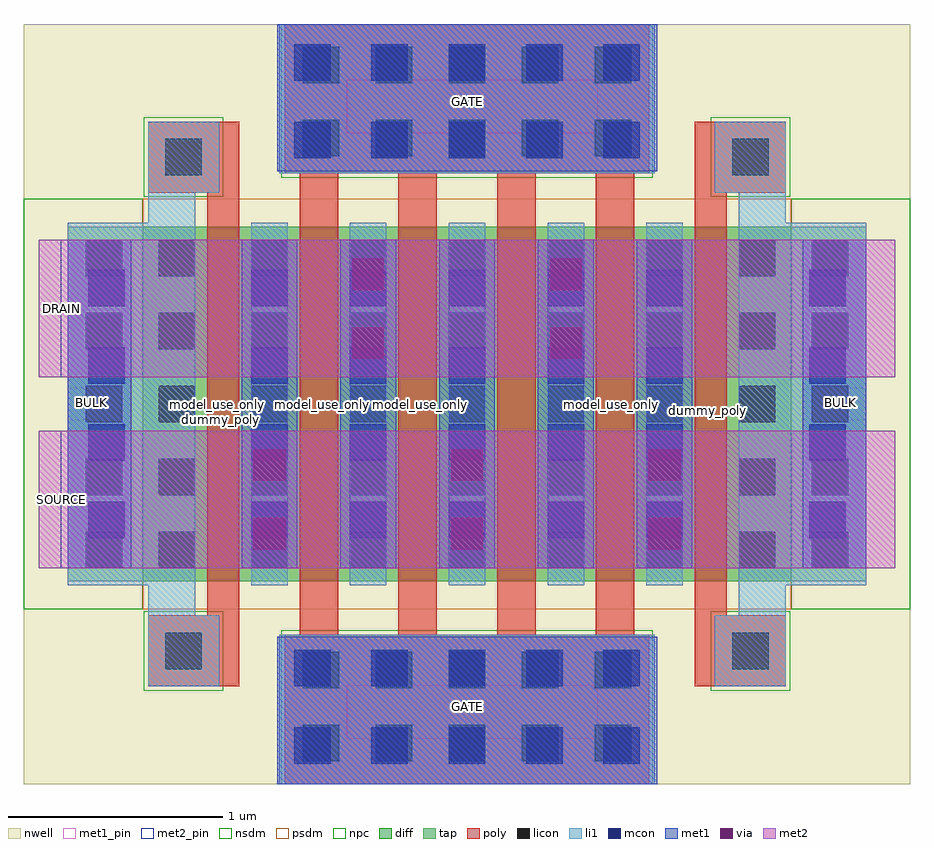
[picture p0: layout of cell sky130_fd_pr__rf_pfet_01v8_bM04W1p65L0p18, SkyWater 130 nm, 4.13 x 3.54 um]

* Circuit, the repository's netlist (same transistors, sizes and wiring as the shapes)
* Copyright 2020 The SkyWater PDK Authors
*
* Licensed under the Apache License, Version 2.0 (the "License");
* you may not use this file except in compliance with the License.
* You may obtain a copy of the License at
*
*     https://www.apache.org/licenses/LICENSE-2.0
*
* Unless required by applicable law or agreed to in writing, software
* distributed under the License is distributed on an "AS IS" BASIS,
* WITHOUT WARRANTIES OR CONDITIONS OF ANY KIND, either express or implied.
* See the License for the specific language governing permissions and
* limitations under the License.
*
* SPDX-License-Identifier: Apache-2.0


.subckt sky130_fd_pr__rf_pfet_01v8_bM04W1p65L0p18 BULK DRAIN GATE SOURCE
X0 SOURCE GATE DRAIN BULK sky130_fd_pr__pfet_01v8 w=1.65e+06u l=180000u
X1 BULK BULK SOURCE BULK sky130_fd_pr__pfet_01v8 w=1.65e+06u l=150000u
X2 SOURCE BULK BULK BULK sky130_fd_pr__pfet_01v8 w=1.65e+06u l=150000u
X3 DRAIN GATE SOURCE BULK sky130_fd_pr__pfet_01v8 w=1.65e+06u l=180000u
X4 DRAIN GATE SOURCE BULK sky130_fd_pr__pfet_01v8 w=1.65e+06u l=180000u
X5 SOURCE GATE DRAIN BULK sky130_fd_pr__pfet_01v8 w=1.65e+06u l=180000u
.ends

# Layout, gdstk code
import gdstk
lib = gdstk.Library(unit=1e-6, precision=1e-09)
def R(c, l, rs):  # rectangles x0, y0, x1, y1
    for r in rs: c.add(gdstk.rectangle(r[:2], r[2:], *l))
def A(c, l, x, y, w, h, nx, ny, dx, dy):  # array of equal rectangles
    R(c, l, [(x+i*dx, y+j*dy, x+i*dx+w, y+j*dy+h) for i in range(nx) for j in range(ny)])
nwell = (64, 20)
diff = (65, 20)
tap = (65, 44)
poly = (66, 20)
licon = (66, 44)
li1 = (67, 20)
mcon = (67, 44)
met1_pin = (68, 16)
met1 = (68, 20)
via = (68, 44)
met2_pin = (69, 16)
met2 = (69, 20)
nsdm = (93, 44)
psdm = (94, 20)
npc = (95, 20)

sky130_fd_pr__rf_pfet_01 = lib.new_cell('sky130_fd_pr__rf_pfet_01v8_bM04W1p65L0p18')
R(sky130_fd_pr__rf_pfet_01, nwell, [(0,0,4.13,3.54)])
R(sky130_fd_pr__rf_pfet_01, diff, [(0.555,0.945,3.575,2.595)])
R(sky130_fd_pr__rf_pfet_01, tap, [(0.205,0.945,0.555,2.595), (3.575,0.945,3.925,2.595)])
A(sky130_fd_pr__rf_pfet_01, poly, 1.285, 0.695, 0.18, 2.15, 4, 1, 0.46, 0)
R(sky130_fd_pr__rf_pfet_01, poly, [(1.215,0,2.915,0.695), (0.58,0.455,0.91,0.785), (0.855,0.455,1.005,3.085), (3.125,0.455,3.275,3.085), (3.22,0.455,3.55,0.785), (0.58,2.755,0.91,3.085), (3.22,2.755,3.55,3.085), (1.215,2.845,2.915,3.54)])
A(sky130_fd_pr__rf_pfet_01, licon, 1.3, 0.105, 0.17, 0.17, 5, 2, 0.34, 0.34)
A(sky130_fd_pr__rf_pfet_01, licon, 0.29, 1.005, 0.17, 0.17, 1, 5, 0, 0.34)
A(sky130_fd_pr__rf_pfet_01, licon, 0.63, 1.005, 0.17, 0.17, 1, 5, 0, 0.34)
A(sky130_fd_pr__rf_pfet_01, licon, 1.06, 1.005, 0.17, 0.17, 3, 1, 0.46, 0)
A(sky130_fd_pr__rf_pfet_01, licon, 1.98, 1.005, 0.17, 0.17, 3, 1, 0.46, 0)
A(sky130_fd_pr__rf_pfet_01, licon, 3.33, 1.005, 0.17, 0.17, 1, 5, 0, 0.34)
A(sky130_fd_pr__rf_pfet_01, licon, 3.67, 1.005, 0.17, 0.17, 1, 5, 0, 0.34)
A(sky130_fd_pr__rf_pfet_01, licon, 1.06, 1.345, 0.17, 0.17, 5, 4, 0.46, 0.34)
A(sky130_fd_pr__rf_pfet_01, licon, 1.3, 2.925, 0.17, 0.17, 5, 2, 0.34, 0.34)
R(sky130_fd_pr__rf_pfet_01, licon, [(0.66,0.535,0.83,0.705), (3.3,0.535,3.47,0.705), (1.06,1.005,1.23,1.175), (2.9,1.005,3.07,1.175), (0.66,2.835,0.83,3.005), (3.3,2.835,3.47,3.005)])
A(sky130_fd_pr__rf_pfet_01, li1, 1.06, 0.925, 0.17, 1.69, 5, 1, 0.46, 0)
R(sky130_fd_pr__rf_pfet_01, li1, [(1.19,0,2.94,0.695), (0.58,0.455,0.91,0.785), (3.22,0.455,3.55,0.785), (0.58,0.785,0.8,0.925), (3.33,0.785,3.55,0.925), (0.205,0.925,0.8,2.615), (3.33,0.925,3.925,2.615), (0.58,2.615,0.8,2.755), (3.33,2.615,3.55,2.755), (0.58,2.755,0.91,3.085), (3.22,2.755,3.55,3.085), (1.19,2.845,2.94,3.54)])
A(sky130_fd_pr__rf_pfet_01, mcon, 1.26, 0.095, 0.17, 0.17, 5, 2, 0.36, 0.36)
A(sky130_fd_pr__rf_pfet_01, mcon, 0.3, 1.145, 0.17, 0.17, 1, 4, 0, 0.36)
A(sky130_fd_pr__rf_pfet_01, mcon, 1.06, 1.145, 0.17, 0.17, 5, 4, 0.46, 0.36)
A(sky130_fd_pr__rf_pfet_01, mcon, 3.66, 1.145, 0.17, 0.17, 1, 4, 0, 0.36)
A(sky130_fd_pr__rf_pfet_01, mcon, 1.26, 2.915, 0.17, 0.17, 5, 2, 0.36, 0.36)
R(sky130_fd_pr__rf_pfet_01, met1_pin, [(1.505,0.21,2.675,0.46), (0.205,1.695,0.435,1.845), (3.695,1.695,3.925,1.845), (1.505,3.03,2.675,3.28)])
A(sky130_fd_pr__rf_pfet_01, met1, 1.015, 1.005, 0.26, 1.53, 5, 1, 0.46, 0)
R(sky130_fd_pr__rf_pfet_01, met1, [(1.18,0,2.95,0.685), (0.205,1.005,0.5,2.535), (3.63,1.005,3.925,2.535), (1.18,2.855,2.95,3.54)])
A(sky130_fd_pr__rf_pfet_01, via, 1.07, 1.09, 0.15, 0.15, 3, 2, 0.92, 0.32)
R(sky130_fd_pr__rf_pfet_01, via, [(1.53,1.98,1.68,2.13), (2.45,1.98,2.6,2.13), (1.53,2.3,1.68,2.45), (2.45,2.3,2.6,2.45)])
R(sky130_fd_pr__rf_pfet_01, met2_pin, [(0.07,1.005,0.175,1.645), (0.07,1.895,0.175,2.535)])
R(sky130_fd_pr__rf_pfet_01, met2, [(0.07,1.005,4.06,1.645), (0.07,1.895,4.06,2.535)])
R(sky130_fd_pr__rf_pfet_01, nsdm, [(0,0.815,0.555,2.725), (3.575,0.815,4.13,2.725)])
R(sky130_fd_pr__rf_pfet_01, psdm, [(0.555,0.815,3.575,2.725)])
R(sky130_fd_pr__rf_pfet_01, npc, [(1.2,0,2.93,0.715), (0.56,0.435,0.93,0.805), (3.2,0.435,3.57,0.805), (0.56,2.735,0.93,3.105), (3.2,2.735,3.57,3.105), (1.2,2.825,2.93,3.54)])
sky130_fd_pr__rf_pfet_01.add(gdstk.Label('dummy_poly', (3.185,1.74), layer=83, texttype=44))
sky130_fd_pr__rf_pfet_01.add(gdstk.Label('dummy_poly', (0.915,1.7), layer=83, texttype=44))
sky130_fd_pr__rf_pfet_01.add(gdstk.Label('GATE', (2.065,3.18), layer=68, texttype=5))
sky130_fd_pr__rf_pfet_01.add(gdstk.Label('GATE', (2.065,0.36), layer=68, texttype=5))
sky130_fd_pr__rf_pfet_01.add(gdstk.Label('BULK', (0.315,1.775), layer=68, texttype=16))
sky130_fd_pr__rf_pfet_01.add(gdstk.Label('BULK', (3.805,1.775), layer=68, texttype=16))
sky130_fd_pr__rf_pfet_01.add(gdstk.Label('model_use_only', (3.185,1.77), layer=66, texttype=83))
sky130_fd_pr__rf_pfet_01.add(gdstk.Label('model_use_only', (1.39,1.77), layer=66, texttype=83))
sky130_fd_pr__rf_pfet_01.add(gdstk.Label('model_use_only', (1.85,1.77), layer=66, texttype=83))
sky130_fd_pr__rf_pfet_01.add(gdstk.Label('model_use_only', (2.74,1.77), layer=66, texttype=83))
sky130_fd_pr__rf_pfet_01.add(gdstk.Label('model_use_only', (2.28,1.77), layer=66, texttype=83))
sky130_fd_pr__rf_pfet_01.add(gdstk.Label('model_use_only', (0.905,1.77), layer=66, texttype=83))
sky130_fd_pr__rf_pfet_01.add(gdstk.Label('SOURCE', (0.175,1.325), layer=69, texttype=5))
sky130_fd_pr__rf_pfet_01.add(gdstk.Label('DRAIN', (0.175,2.215), layer=69, texttype=5))

lib.write_gds('sky130_fd_pr__rf_pfet_01v8_bM04W1p65L0p18.gds')
